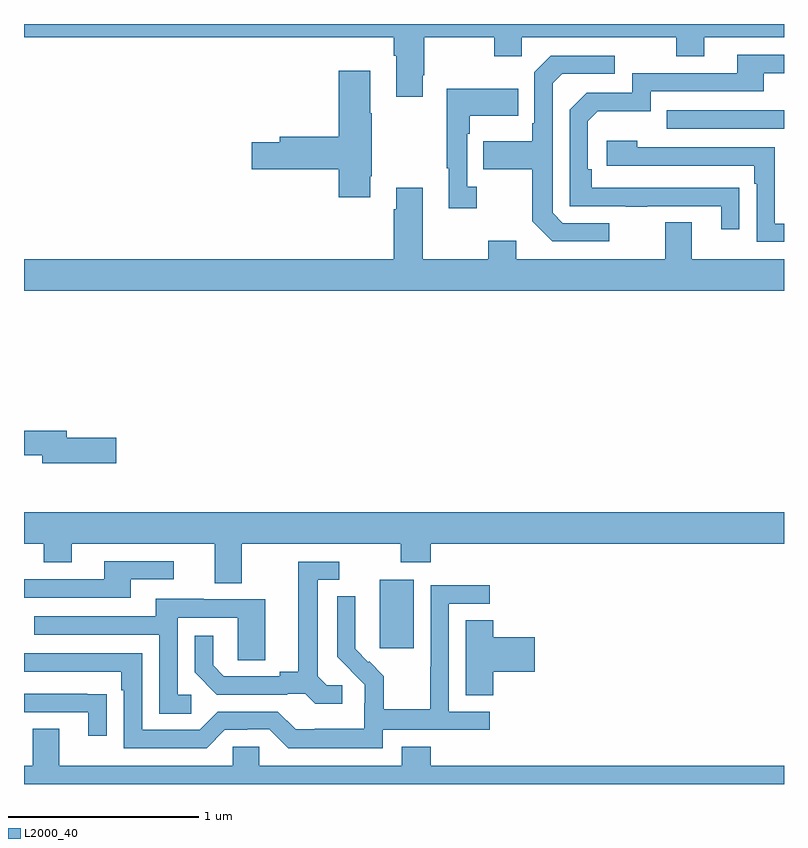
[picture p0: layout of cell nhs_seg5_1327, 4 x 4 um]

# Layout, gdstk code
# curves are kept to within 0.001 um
import gdstk
lib = gdstk.Library(unit=1e-6, precision=1e-09)
def R(c, l, rs):  # rectangles x0, y0, x1, y1
    for r in rs: c.add(gdstk.rectangle(r[:2], r[2:], *l))
def P(c, l, *ps):  # polygons
    for p in ps: c.add(gdstk.Polygon(p, *l))
L2000_40 = (2000, 40)

nhs_seg5_1327 = lib.new_cell('nhs_seg5_1327')
R(nhs_seg5_1327, L2000_40, [(192.872,885.513,193.051,885.874), (194.383,888.249,195,888.345)])
P(nhs_seg5_1327, L2000_40, [(193.099,888.529),(193.107,888.529),(193.107,888.728),(193.474,888.728),(193.474,888.629),(193.62,888.629),(193.62,888.728),(194.434,888.728),(194.434,888.629),(194.581,888.629),(194.581,888.728),(195,888.728),(195,888.799),(191,888.799),(191,888.728),(192.947,888.728),(192.947,888.632),(192.959,888.632),(192.959,888.417),(193.099,888.417)],
  [(194.765,887.936),(193.988,887.937),(193.988,888.034),(193.968,888.034),(193.968,888.288),(194.021,888.341),(194.298,888.341),(194.298,888.444),(194.893,888.444),(194.893,888.54),(195,888.54),(195,888.636),(194.753,888.636),(194.753,888.54),(194.202,888.54),(194.202,888.438),(193.962,888.438),(193.872,888.348),(193.872,887.841),(194.167,887.841),(194.167,887.836),(194.279,887.836),(194.279,887.841),(194.669,887.841),(194.669,887.718),(194.765,887.718)],
  [(194.08,887.751),(193.836,887.751),(193.782,887.805),(193.782,888.486),(193.833,888.537),(194.11,888.537),(194.11,888.633),(193.773,888.633),(193.686,888.546),(193.686,888.277),(193.674,888.277),(193.674,888.181),(193.417,888.181),(193.417,888.034),(193.674,888.034),(193.674,887.761),(193.779,887.655),(194.08,887.655)],
  [(192.823,887.998),(192.831,887.998),(192.831,888.329),(192.823,888.329),(192.823,888.553),(192.656,888.553),(192.656,888.206),(192.347,888.206),(192.347,888.176),(192.198,888.176),(192.198,888.034),(192.656,888.034),(192.656,887.886),(192.823,887.886)],
  [(193.384,887.942),(193.332,887.942),(193.332,888.221),(193.345,888.221),(193.345,888.317),(193.601,888.317),(193.601,888.457),(193.224,888.457),(193.224,888.041),(193.235,888.041),(193.235,887.829),(193.384,887.829)],
  [(195,887.748),(194.952,887.748),(194.952,888.15),(194.228,888.15),(194.228,888.184),(194.067,888.184),(194.067,888.054),(194.843,888.054),(194.843,887.957),(194.856,887.957),(194.856,887.652),(195,887.652)],
  [(195,887.56),(194.515,887.56),(194.515,887.755),(194.375,887.755),(194.375,887.56),(193.591,887.56),(193.591,887.659),(193.444,887.659),(193.444,887.56),(193.099,887.56),(193.099,887.938),(192.959,887.938),(192.959,887.825),(192.947,887.825),(192.947,887.56),(191,887.56),(191,887.396),(195,887.396)],
  [(191.485,886.622),(191.224,886.622),(191.224,886.658),(191,886.658),(191,886.53),(191.096,886.53),(191.096,886.487),(191.485,886.487)],
  [(192.145,886.064),(192.982,886.064),(192.982,885.965),(193.142,885.965),(193.142,886.064),(195,886.064),(195,886.228),(191,886.228),(191,886.064),(191.104,886.064),(191.104,885.965),(191.251,885.965),(191.251,886.064),(192.005,886.064),(192.005,885.856),(192.145,885.856)],
  [(191.563,885.876),(191.788,885.876),(191.788,885.972),(191.423,885.972),(191.423,885.876),(191,885.876),(191,885.78),(191.563,885.78)],
  [(192.676,885.318),(192.594,885.318),(192.547,885.365),(192.547,885.873),(192.658,885.873),(192.658,885.969),(192.443,885.969),(192.443,885.389),(192.347,885.389),(192.347,885.366),(192.052,885.366),(191.995,885.423),(191.995,885.58),(191.898,885.58),(191.898,885.386),(192.014,885.27),(192.386,885.27),(192.386,885.273),(192.48,885.273),(192.532,885.221),(192.676,885.221)],
  [(192.888,885.084),(193.45,885.084),(193.45,885.18),(193.236,885.18),(193.236,885.747),(193.45,885.747),(193.45,885.846),(193.14,885.846),(193.14,885.416),(193.138,885.416),(193.138,885.193),(192.893,885.193),(192.893,885.367),(192.816,885.444),(192.813,885.441),(192.743,885.512),(192.744,885.788),(192.648,885.788),(192.648,885.47),(192.794,885.322),(192.794,885.225),(192.792,885.225),(192.792,885.091),(192.529,885.091),(192.529,885.087),(192.429,885.087),(192.336,885.18),(192.021,885.18),(191.925,885.084),(191.622,885.084),(191.622,885.486),(191,885.486),(191,885.39),(191.513,885.39),(191.513,885.293),(191.526,885.293),(191.526,884.988),(191.961,884.988),(192.057,885.084),(192.176,885.084),(192.176,885.087),(192.291,885.087),(192.391,884.987),(192.888,884.987)],
  [(191.881,885.27),(191.808,885.27),(191.808,885.675),(192.126,885.675),(192.126,885.451),(192.271,885.451),(192.271,885.771),(191.947,885.771),(191.947,885.775),(191.693,885.775),(191.693,885.681),(191.053,885.681),(191.053,885.585),(191.712,885.585),(191.712,885.169),(191.881,885.169)],
  [(193.469,885.389),(193.687,885.389),(193.687,885.572),(193.469,885.572),(193.469,885.662),(193.325,885.662),(193.325,885.265),(193.469,885.265)],
  [(191.435,885.272),(191.333,885.272),(191.333,885.273),(191,885.273),(191,885.177),(191.339,885.177),(191.339,885.054),(191.435,885.054)],
  [(195,884.896),(193.142,884.896),(193.142,884.995),(192.989,884.995),(192.989,884.896),(192.237,884.896),(192.237,884.994),(192.099,884.994),(192.099,884.896),(191.185,884.896),(191.185,885.091),(191.045,885.091),(191.045,884.896),(191,884.896),(191,884.799),(195,884.799)])

lib.write_gds('nhs_seg5_1327.gds')
